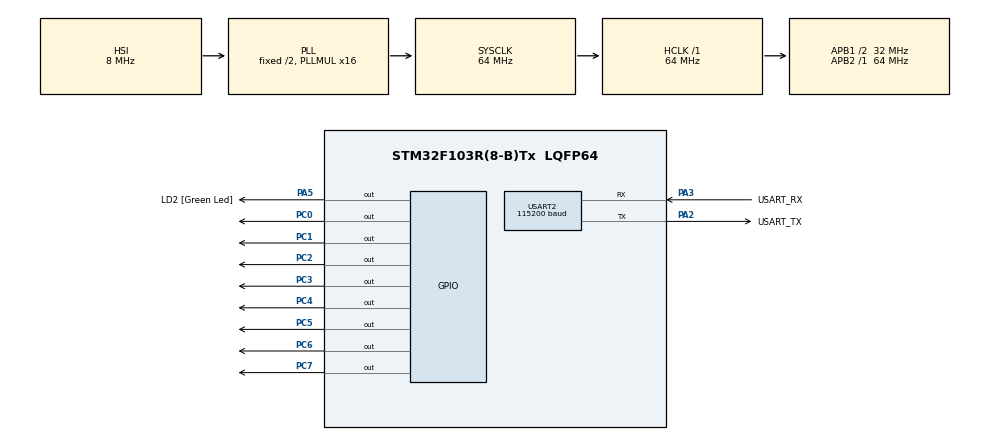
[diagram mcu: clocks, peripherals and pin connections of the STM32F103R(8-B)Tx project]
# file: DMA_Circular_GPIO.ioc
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Dma.Request0=TIM2_UP
Dma.TIM2_UP.0.Direction=DMA_MEMORY_TO_PERIPH
Dma.TIM2_UP.0.Instance=DMA1_Channel2
Dma.TIM2_UP.0.MemDataAlignment=DMA_MDATAALIGN_HALFWORD
Dma.TIM2_UP.0.MemInc=DMA_MINC_ENABLE
Dma.TIM2_UP.0.Mode=DMA_CIRCULAR
Dma.TIM2_UP.0.PeriphDataAlignment=DMA_PDATAALIGN_HALFWORD
Dma.TIM2_UP.0.PeriphInc=DMA_PINC_DISABLE
Dma.TIM2_UP.0.Priority=DMA_PRIORITY_HIGH
Mcu.Family=STM32F1
Mcu.Name=STM32F103R(8-B)Tx
Mcu.Package=LQFP64
NVIC.DMA1_Channel2_IRQn=true\:1\:0\:false\:false\:true\:true\:true\:true
NVIC.PriorityGroup=NVIC_PRIORITYGROUP_4
PA13.GPIO_Label=TMS
PA13.Mode=Serial_Wire
PA13.Signal=SYS_JTMS-SWDIO
PA14.GPIO_Label=TCK
PA14.Mode=Serial_Wire
PA14.Signal=SYS_JTCK-SWCLK
PA2.GPIO_Label=USART_TX
PA2.GPIO_Mode=GPIO_MODE_AF_PP
PA2.GPIO_PuPd=GPIO_NOPULL
PA2.GPIO_Speed=GPIO_SPEED_FREQ_LOW
PA2.Mode=Asynchronous
PA2.Signal=USART2_TX
PA3.GPIO_Label=USART_RX
PA3.GPIO_PuPd=GPIO_NOPULL
PA3.GPIO_Speed=GPIO_SPEED_FREQ_LOW
PA3.Mode=Asynchronous
PA3.Signal=USART2_RX
PA5.GPIO_Label=LD2 [Green Led]
PA5.GPIO_ModeDefaultOutputPP=GPIO_MODE_OUTPUT_PP
PA5.GPIO_PuPd=GPIO_NOPULL
PA5.GPIO_Speed=GPIO_SPEED_FREQ_LOW
PA5.Signal=GPIO_Output
PB3.GPIO_Label=SWO
PB3.Signal=SYS_JTDO-TRACESWO
PC0.GPIO_ModeDefaultOutputPP=GPIO_MODE_OUTPUT_PP
PC0.GPIO_PuPd=GPIO_NOPULL
PC0.GPIO_Speed=GPIO_SPEED_FREQ_HIGH
PC0.Signal=GPIO_Output
PC1.GPIO_ModeDefaultOutputPP=GPIO_MODE_OUTPUT_PP
PC1.GPIO_PuPd=GPIO_NOPULL
PC1.GPIO_Speed=GPIO_SPEED_FREQ_HIGH
PC1.Signal=GPIO_Output
PC14-OSC32_IN.Mode=LSE-External-Oscillator
PC14-OSC32_IN.Signal=RCC_OSC32_IN
PC15-OSC32_OUT.Mode=LSE-External-Oscillator
PC15-OSC32_OUT.Signal=RCC_OSC32_OUT
PC2.GPIO_ModeDefaultOutputPP=GPIO_MODE_OUTPUT_PP
PC2.GPIO_PuPd=GPIO_NOPULL
PC2.GPIO_Speed=GPIO_SPEED_FREQ_HIGH
PC2.Signal=GPIO_Output
PC3.GPIO_ModeDefaultOutputPP=GPIO_MODE_OUTPUT_PP
PC3.GPIO_PuPd=GPIO_NOPULL
PC3.GPIO_Speed=GPIO_SPEED_FREQ_HIGH
PC3.Signal=GPIO_Output
PC4.GPIO_ModeDefaultOutputPP=GPIO_MODE_OUTPUT_PP
PC4.GPIO_PuPd=GPIO_NOPULL
PC4.GPIO_Speed=GPIO_SPEED_FREQ_HIGH
PC4.Signal=GPIO_Output
PC5.GPIO_ModeDefaultOutputPP=GPIO_MODE_OUTPUT_PP
PC5.GPIO_PuPd=GPIO_NOPULL
PC5.GPIO_Speed=GPIO_SPEED_FREQ_HIGH
PC5.Signal=GPIO_Output
PC6.GPIO_ModeDefaultOutputPP=GPIO_MODE_OUTPUT_PP
PC6.GPIO_PuPd=GPIO_NOPULL
PC6.GPIO_Speed=GPIO_SPEED_FREQ_HIGH
PC6.Signal=GPIO_Output
PC7.GPIO_ModeDefaultOutputPP=GPIO_MODE_OUTPUT_PP
PC7.GPIO_PuPd=GPIO_NOPULL
PC7.GPIO_Speed=GPIO_SPEED_FREQ_HIGH
PC7.Signal=GPIO_Output
PD0-OSC_IN.Mode=HSE-External-Clock-Source
PD0-OSC_IN.Signal=RCC_OSC_IN
PD1-OSC_OUT.Mode=HSE-External-Clock-Source
PD1-OSC_OUT.Signal=RCC_OSC_OUT
ProjectManager.HeapSize=0x200
ProjectManager.StackSize=0x400
ProjectManager.TargetToolchain=STM32CubeIDE
RCC.AHBFreq_Value=64000000
RCC.APB1CLKDivider=RCC_HCLK_DIV2
RCC.APB1Freq_Value=32000000
RCC.APB1TimFreq_Value=64000000
RCC.APB2Freq_Value=64000000
RCC.APB2TimFreq_Value=64000000
RCC.HCLKFreq_Value=64000000
RCC.PLLMUL=RCC_PLL_MUL16
RCC.RTCClockSelection=RCC_RTCCLKSOURCE_LSE
RCC.SYSCLKFreq_VALUE=64000000
RCC.SYSCLKSource=RCC_SYSCLKSOURCE_PLLCLK
RCC.USBFreq_Value=64000000
TIM2.Period=99
TIM2.Prescaler=63
USART2.BaudRate=115200
USART2.VirtualMode=VM_ASYNC
VP_TIM2_VS_ClockSourceINT.Mode=Internal
board=NUCLEO-F103RB

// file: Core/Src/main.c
/* USER CODE BEGIN Header */
/**
 ******************************************************************************
 * @file           : main.c
 * @brief          : Main program body
 ******************************************************************************
 * @attention
 *
 * Copyright (c) 2026 STMicroelectronics.
 * All rights reserved.
 *
 * This software is licensed under terms that can be found in the LICENSE file
 * in the root directory of this software component.
 * If no LICENSE file comes with this software, it is provided AS-IS.
 *
 ******************************************************************************
 */
/**
 * 02_DMA_Circular_GPIO_HAL_c  —  [계층: HAL]  원형(circular) DMA + 타이머 요청으로 GPIO 포트에 패턴을 자동 출력 (핑퐁 버퍼)
 *
 * CPU 없이 8비트 패턴을 정확한 주기로 GPIOC 에 내보낸다. 로직 분석기, LED 8개(저항 포함), 병렬 DAC(R-2R) 등을 연결해 관찰.
 *
 * 구성
 *   TIM2 업데이트 이벤트(10kHz) --DMA 요청--> DMA1 채널2 --> GPIOC->ODR (반워드 전송)
 *   출력 핀: PC0..PC7 (Nucleo morpho). 버퍼 = 64 샘플, 원형 모드라 끝에 닿으면 처음부터 무한 반복.
 *   패턴 주기 = 64 샘플 / 10kHz = 6.4ms -> 약 156Hz 로 반복
 *
 * 핑퐁(double buffering)
 *   DMA 가 버퍼의 앞 절반을 내보내는 동안 CPU 가 뒤 절반을 채우고, 뒤 절반을 내보내는 동안 앞 절반을 채우는 방식.
 *   반 버퍼 전송 완료(HT) / 전체 완료(TC) 인터럽트가 "지금 다 내보낸 쪽이 비었으니 새 데이터를 채우라"는 신호다.
 *   이 예제: 콜백이 비워진 쪽 절반을 "다음 패턴"으로 채운다. 패턴은 1초마다 바뀌는 3종
 *     (0) 나이트라이더(단일 비트 이동) (1) 8비트 이진 카운터 (2) 삼각파(램프 업/다운, 병렬 DAC 에 연결하면 삼각 신호)
 *
 * 하드웨어 대응 (RM0008 13장)
 *   TIM2->DIER.UDE(bit8) = 1 : 업데이트 이벤트마다 DMA 요청
 *   DMA1_Channel2: 메모리->주변장치, 소스 메모리 주소 증가, 목적지(ODR) 고정, 반워드(16비트) 단위, CCR.CIRC=1, HTIE/TCIE
 *   *** GPIOC->ODR 전체(16비트)를 쓰므로 PC8..PC15 는 0 으로 구동된다. PC13(B1)은 입력 모드라 영향이 없지만,
 *       PC8..PC15 에 다른 출력을 쓰는 응용에서는 BSRR 로 필요한 비트만 쓰도록 바꿔야 한다. ***
 *
 * ISR vs 콜백
 *   DMA1_Channel2_IRQHandler (stm32f1xx_it.c, 진짜 ISR) -> HAL_DMA_IRQHandler()
 *     -> half_cb (HT) / full_cb (TC)  (HAL_DMA_RegisterCallback 으로 등록한 이 파일의 함수)
 */
/* USER CODE END Header */
#include "main.h"

/* USER CODE BEGIN Includes */
#include <stdio.h>
#include <string.h>
/* USER CODE END Includes */

/* USER CODE BEGIN PD */
#define N 64                                  /* 전체 샘플 수 (반 = 32) */

/* USER CODE END PD */

TIM_HandleTypeDef htim2;
DMA_HandleTypeDef hdma_tim2_up;
UART_HandleTypeDef huart2;

/* USER CODE BEGIN PV */
static uint16_t buf[N];
static volatile uint8_t pattern;              /* 0/1/2 : main 이 1초마다 변경 */
static volatile uint32_t half_count, full_count;
/* USER CODE END PV */

void SystemClock_Config(void);
static void MX_GPIO_Init(void);
static void MX_DMA_Init(void);
static void MX_TIM2_Init(void);
static void MX_USART2_UART_Init(void);

/* USER CODE BEGIN 0 */
/* 반 버퍼(32개)를 현재 패턴으로 채운다. phase = 이 절반이 패턴 안에서 시작하는 위치 */
static void fill_half(uint16_t *p, uint32_t start)
{
    for (uint32_t i = 0; i < N / 2; i++)
    {
        uint32_t k = start + i;               /* 패턴 안의 샘플 번호 */
        uint16_t v = 0;
        switch (pattern)
        {
        case 0:  v = (uint16_t)(1u << ((k / 4) & 7));  break;                           /* 나이트라이더: 4샘플마다 한 칸 */
        case 1:  v = (uint16_t)((k * 4) & 0xFF);       break;                           /* 이진 카운터(램프) */
        default: { uint32_t t = k & 0x3F; v = (uint16_t)((t < 32 ? t : 63 - t) * 8); }  /* 삼각파 0..248 */
        }
        p[i] = v;
    }
}

/* ------------------------------------------------------------------------- */
/* DMA 콜백 (ISR 문맥): HT = 앞 절반 전송 완료, TC = 뒤 절반 전송 완료                */
/* ------------------------------------------------------------------------- */
static void half_cb(DMA_HandleTypeDef *h) { (void)h; fill_half(&buf[0], 0);          half_count++; }   /* 앞 절반이 비었음 -> 채움 */
static void full_cb(DMA_HandleTypeDef *h) { (void)h; fill_half(&buf[N / 2], N / 2);  full_count++; }   /* 뒤 절반이 비었음 -> 채움 */

/* USER CODE END 0 */

int main(void)
{

  /* MCU Configuration--------------------------------------------------------*/

  /* Reset of all peripherals, Initializes the Flash interface and the Systick. */
  HAL_Init();

  /* Configure the system clock */
  SystemClock_Config();

  /* Initialize all configured peripherals */
  MX_GPIO_Init();
  MX_DMA_Init();
  MX_TIM2_Init();
  MX_USART2_UART_Init();
  /* USER CODE BEGIN 2 */
  /* 앞/뒤 절반을 첫 패턴(pattern=0)으로 미리 채운다 */
  fill_half(&buf[0], 0);
  fill_half(&buf[N / 2], N / 2);

  /* DMA 콜백 등록: HT -> half_cb, TC -> full_cb. HAL_DMA_Start_IT 가 XferHalfCpltCallback 이 NULL 이 아닐 때만
   * CCR.HTIE 를 켜므로 반드시 Start_IT 보다 먼저 등록한다 (HAL_DMA_IRQHandler 가 ISR 안에서 호출) */
  HAL_DMA_RegisterCallback(&hdma_tim2_up, HAL_DMA_XFER_HALFCPLT_CB_ID, half_cb);
  HAL_DMA_RegisterCallback(&hdma_tim2_up, HAL_DMA_XFER_CPLT_CB_ID, full_cb);

  /* DMA 시작: 메모리 buf -> GPIOC->ODR, 원형 (CCR.CIRC=1, MX_TIM2 의 DMA 설정은 HAL_TIM_Base_MspInit). TIM2 업데이트마다 1샘플 */
  if (HAL_DMA_Start_IT(&hdma_tim2_up, (uint32_t)buf, (uint32_t)&GPIOC->ODR, N) != HAL_OK) Error_Handler();
  __HAL_TIM_ENABLE_DMA(&htim2, TIM_DMA_UPDATE);        /* TIM2->DIER.UDE(bit8) = 1 */
  if (HAL_TIM_Base_Start(&htim2) != HAL_OK) Error_Handler();   /* TIM2->CR1.CEN = 1 */

  char msg[96];
  uint32_t t_sw = HAL_GetTick();
  /* USER CODE END 2 */

  /* Infinite loop */
  while (1)
  {

    /* USER CODE BEGIN 3 */
    if (HAL_GetTick() - t_sw >= 1000)
    {
      t_sw += 1000;
      pattern = (uint8_t)((pattern + 1) % 3);      /* 콜백들이 다음 반 버퍼부터 새 패턴으로 채운다 */
      static const char *const nm[3] = { "knight-rider", "binary ramp", "triangle" };
      int n = snprintf(msg, sizeof msg, "pattern=%s  HT=%lu TC=%lu (기대: 각각 약 156/s)\r\n",
              nm[pattern], (unsigned long)half_count, (unsigned long)full_count);
      HAL_UART_Transmit(&huart2, (uint8_t *)msg, (uint16_t)n, 100);
    }
  }
  /* USER CODE END 3 */
}

void SystemClock_Config(void)
{
  RCC_OscInitTypeDef RCC_OscInitStruct = {0};
  RCC_ClkInitTypeDef RCC_ClkInitStruct = {0};

  /** Initializes the RCC Oscillators according to the specified parameters
  * in the RCC_OscInitTypeDef structure.
  */
  RCC_OscInitStruct.OscillatorType = RCC_OSCILLATORTYPE_HSI;
  RCC_OscInitStruct.HSIState = RCC_HSI_ON;
  RCC_OscInitStruct.HSICalibrationValue = RCC_HSICALIBRATION_DEFAULT;
  RCC_OscInitStruct.PLL.PLLState = RCC_PLL_ON;
  RCC_OscInitStruct.PLL.PLLSource = RCC_PLLSOURCE_HSI_DIV2;
  RCC_OscInitStruct.PLL.PLLMUL = RCC_PLL_MUL16;
  if (HAL_RCC_OscConfig(&RCC_OscInitStruct) != HAL_OK)
  {
    Error_Handler();
  }

  /** Initializes the CPU, AHB and APB buses clocks
  */
  RCC_ClkInitStruct.ClockType = RCC_CLOCKTYPE_HCLK|RCC_CLOCKTYPE_SYSCLK
                              |RCC_CLOCKTYPE_PCLK1|RCC_CLOCKTYPE_PCLK2;
  RCC_ClkInitStruct.SYSCLKSource = RCC_SYSCLKSOURCE_PLLCLK;
  RCC_ClkInitStruct.AHBCLKDivider = RCC_SYSCLK_DIV1;
  RCC_ClkInitStruct.APB1CLKDivider = RCC_HCLK_DIV2;
  RCC_ClkInitStruct.APB2CLKDivider = RCC_HCLK_DIV1;

  if (HAL_RCC_ClockConfig(&RCC_ClkInitStruct, FLASH_LATENCY_2) != HAL_OK)
  {
    Error_Handler();
  }
}

static void MX_GPIO_Init(void)
{
  GPIO_InitTypeDef GPIO_InitStruct = {0};

  /* GPIO Ports Clock Enable */
  __HAL_RCC_GPIOC_CLK_ENABLE();
  __HAL_RCC_GPIOD_CLK_ENABLE();
  __HAL_RCC_GPIOA_CLK_ENABLE();
  __HAL_RCC_GPIOB_CLK_ENABLE();

  /*Configure GPIO pin Output Level */
  HAL_GPIO_WritePin(GPIOC, GPIO_PIN_0|GPIO_PIN_1|GPIO_PIN_2|GPIO_PIN_3|GPIO_PIN_4|GPIO_PIN_5|GPIO_PIN_6|GPIO_PIN_7, GPIO_PIN_RESET);

  /*Configure GPIO pin Output Level */
  HAL_GPIO_WritePin(LD2_GPIO_Port, LD2_Pin, GPIO_PIN_RESET);

  /*Configure GPIO pins : PC0 PC1 PC2 PC3 PC4 PC5 PC6 PC7 */
  GPIO_InitStruct.Pin = GPIO_PIN_0|GPIO_PIN_1|GPIO_PIN_2|GPIO_PIN_3|GPIO_PIN_4|GPIO_PIN_5|GPIO_PIN_6|GPIO_PIN_7;
  GPIO_InitStruct.Mode = GPIO_MODE_OUTPUT_PP;
  GPIO_InitStruct.Pull = GPIO_NOPULL;
  GPIO_InitStruct.Speed = GPIO_SPEED_FREQ_HIGH;
  HAL_GPIO_Init(GPIOC, &GPIO_InitStruct);

  /*Configure GPIO pin : LD2_Pin */
  GPIO_InitStruct.Pin = LD2_Pin;
  GPIO_InitStruct.Mode = GPIO_MODE_OUTPUT_PP;
  GPIO_InitStruct.Pull = GPIO_NOPULL;
  GPIO_InitStruct.Speed = GPIO_SPEED_FREQ_LOW;
  HAL_GPIO_Init(LD2_GPIO_Port, &GPIO_InitStruct);

}

static void MX_DMA_Init(void)
{

  /* DMA controller clock enable */
  __HAL_RCC_DMA1_CLK_ENABLE();

  /* DMA interrupt init */
  /* DMA1_Channel2_IRQn interrupt configuration */
  HAL_NVIC_SetPriority(DMA1_Channel2_IRQn, 1, 0);
  HAL_NVIC_EnableIRQ(DMA1_Channel2_IRQn);

}

static void MX_TIM2_Init(void)
{

  TIM_ClockConfigTypeDef sClockSourceConfig = {0};
  TIM_MasterConfigTypeDef sMasterConfig = {0};

  htim2.Instance = TIM2;
  htim2.Init.Prescaler = 63;
  htim2.Init.CounterMode = TIM_COUNTERMODE_UP;
  htim2.Init.Period = 99;
  htim2.Init.ClockDivision = TIM_CLOCKDIVISION_DIV1;
  htim2.Init.AutoReloadPreload = TIM_AUTORELOAD_PRELOAD_DISABLE;
  if (HAL_TIM_Base_Init(&htim2) != HAL_OK)
  {
    Error_Handler();
  }
  sClockSourceConfig.ClockSource = TIM_CLOCKSOURCE_INTERNAL;
  if (HAL_TIM_ConfigClockSource(&htim2, &sClockSourceConfig) != HAL_OK)
  {
    Error_Handler();
  }
  sMasterConfig.MasterOutputTrigger = TIM_TRGO_RESET;
  sMasterConfig.MasterSlaveMode = TIM_MASTERSLAVEMODE_DISABLE;
  if (HAL_TIMEx_MasterConfigSynchronization(&htim2, &sMasterConfig) != HAL_OK)
  {
    Error_Handler();
  }
  /* USER CODE BEGIN TIM2_Init 2 */
  /* TIM2 클럭 64MHz / (PSC+1=64) / (ARR+1=100) = 10kHz 업데이트 이벤트 = DMA 요청 주기.
   * TIM2->PSC = 63, TIM2->ARR = 99. DIER.UDE / CR1.CEN 은 main() USER CODE 2 에서 설정 */
  /* USER CODE END TIM2_Init 2 */

}

static void MX_USART2_UART_Init(void)
{

  huart2.Instance = USART2;
  huart2.Init.BaudRate = 115200;
  huart2.Init.WordLength = UART_WORDLENGTH_8B;
  huart2.Init.StopBits = UART_STOPBITS_1;
  huart2.Init.Parity = UART_PARITY_NONE;
  huart2.Init.Mode = UART_MODE_TX_RX;
  huart2.Init.HwFlowCtl = UART_HWCONTROL_NONE;
  huart2.Init.OverSampling = UART_OVERSAMPLING_16;
  if (HAL_UART_Init(&huart2) != HAL_OK)
  {
    Error_Handler();
  }

}

void Error_Handler(void)
{
  __disable_irq();
  while (1) {
  }
}
#ifdef USE_FULL_ASSERT
/**
  * @brief  Reports the name of the source file and the source line number
  *         where the assert_param error has occurred.
  * @param  file: pointer to the source file name
  * @param  line: assert_param error line source number
  * @retval None
  */
void assert_failed(uint8_t *file, uint32_t line)
{
  /* USER CODE BEGIN 6 */
  /* User can add his own implementation to report the file name and line
     number, ex: printf("Wrong parameters value: file %s on line %d\r\n", file,
     line) */
  /* USER CODE END 6 */
}
#endif /* USE_FULL_ASSERT */
